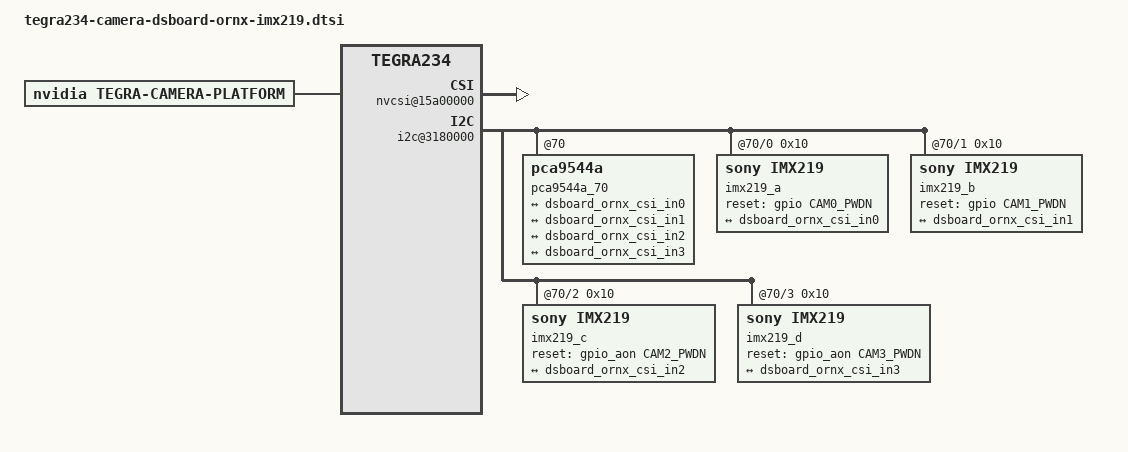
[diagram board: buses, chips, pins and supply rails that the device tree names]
// SPDX-License-Identifier: GPL-2.0-only
// SPDX-FileCopyrightText: Copyright (c) 2023-2024, NVIDIA CORPORATION & AFFILIATES. All rights reserved.

#include <dt-bindings/clock/tegra234-clock.h>
#include <dt-bindings/gpio/tegra234-gpio.h>

#define CAM0_PWDN	TEGRA234_MAIN_GPIO(H, 6)
#define CAM1_PWDN	TEGRA234_MAIN_GPIO(AC, 0)
#define CAM2_PWDN	TEGRA234_AON_GPIO(CC, 1) // GPIO04
#define CAM3_PWDN	TEGRA234_AON_GPIO(EE, 2) // GPIO10
#define CAMERA_I2C_MUX_BUS(x) (0x1E + x)

// CAM0_MCLK - Pin_116 - GPIO(P, 0)
// CAM1_MCLK - Pin_122 - GPIO(P, 1)
// CAM2_MCLK - GPIO02 - GPIO(Q, 5)
// CAM3_MCLK - GPIO11 - GPIO(Q, 6)

/ {
	fragment-camera@0 {
		target-path = "/";
		__overlay__ {

	tegra-capture-vi  {
		num-channels = <4>;
		ports {
			#address-cells = <1>;
			#size-cells = <0>;
			port@0 {
				status = "okay";
				reg = <0>;
				dsboard_ornx_vi_in0: endpoint {
					status = "okay";
					port-index = <0>;
					bus-width = <2>;
					remote-endpoint = <&dsboard_ornx_csi_out0>;
				};
			};
			port@1 {
				status = "okay";
				reg = <1>;
				dsboard_ornx_vi_in1: endpoint {
					status = "okay";
					port-index = <1>;
					bus-width = <2>;
					remote-endpoint = <&dsboard_ornx_csi_out1>;
				};
			};
			port@2 {
				status = "okay";
				reg = <2>;
				dsboard_ornx_vi_in2: endpoint {
					status = "okay";
					port-index = <2>;
					bus-width = <2>;
					remote-endpoint = <&dsboard_ornx_csi_out2>;
				};
			};
			port@3 {
				status = "okay";
				reg = <3>;
				dsboard_ornx_vi_in3: endpoint {
					status = "okay";
					port-index = <3>;
					bus-width = <2>;
					remote-endpoint = <&dsboard_ornx_csi_out3>;
				};
			};
		};
	};

	bus@0 {
		host1x@13e00000 {
			nvcsi@15a00000 {
				num-channels = <4>;
				#address-cells = <1>;
				#size-cells = <0>;
				status = "okay";
				channel@0 {
					status = "okay";
					reg = <0>;
					ports {
						#address-cells = <1>;
						#size-cells = <0>;
						port@0 {
							status = "okay";
							reg = <0>;
							dsboard_ornx_csi_in0: endpoint@0 {
								status = "okay";
								port-index = <0>;
								bus-width = <2>;
								remote-endpoint = <&dsboard_ornx_imx219_out0>;
							};
						};
						port@1 {
							status = "okay";
							reg = <1>;
							dsboard_ornx_csi_out0: endpoint@1 {
								status = "okay";
								remote-endpoint = <&dsboard_ornx_vi_in0>;
							};
						};
					};
				};
				channel@1 {
					status = "okay";
					reg = <1>;
					ports {
						#address-cells = <1>;
						#size-cells = <0>;
						port@0 {
							status = "okay";
							reg = <0>;
							dsboard_ornx_csi_in1: endpoint@2 {
								status = "okay";
								port-index = <1>;
								bus-width = <2>;
								remote-endpoint = <&dsboard_ornx_imx219_out1>;
							};
						};
						port@1 {
							status = "okay";
							reg = <1>;
							dsboard_ornx_csi_out1: endpoint@3 {
								status = "okay";
								remote-endpoint = <&dsboard_ornx_vi_in1>;
							};
						};
					};
				};
				channel@2 {
					status = "okay";
					reg = <2>;
					ports {
						#address-cells = <1>;
						#size-cells = <0>;
						port@0 {
							status = "okay";
							reg = <0>;
							dsboard_ornx_csi_in2: endpoint@4 {
								status = "okay";
								port-index = <2>;
								bus-width = <2>;
								remote-endpoint = <&dsboard_ornx_imx219_out2>;
							};
						};
						port@1 {
							status = "okay";
							reg = <1>;
							dsboard_ornx_csi_out2: endpoint@5 {
								status = "okay";
								remote-endpoint = <&dsboard_ornx_vi_in2>;
							};
						};
					};
				};
				channel@3 {
					status = "okay";
					reg = <3>;
					ports {
						#address-cells = <1>;
						#size-cells = <0>;
						port@0 {
							status = "okay";
							reg = <0>;
							dsboard_ornx_csi_in3: endpoint@6 {
								status = "okay";
								port-index = <3>;
								bus-width = <2>;
								remote-endpoint = <&dsboard_ornx_imx219_out3>;
							};
						};
						port@1 {
							status = "okay";
							reg = <1>;
							dsboard_ornx_csi_out3: endpoint@7 {
								status = "okay";
								remote-endpoint = <&dsboard_ornx_vi_in3>;
							};
						};
					};
				};
			};
		};

		i2c@3180000 {
			pca9544a_70: pca9544a@70 {
				status = "okay";
				force_bus_start = <CAMERA_I2C_MUX_BUS(0)>;

				i2c@0 {
					reg = <0>;
					i2c-mux,deselect-on-exit;
					#address-cells = <1>;
					#size-cells = <0>;

					imx219_a@10 {
						status="okay";

						compatible = "sony,imx219";
						/* I2C device address */
						reg = <0x10>;

						/* V4L2 device node location */
						devnode = "video0";

						/* Physical dimensions of sensor */
						physical_w = "3.680";
						physical_h = "2.760";

						sensor_model = "imx219";

						use_sensor_mode_id = "true";

						reset-gpios = <&gpio CAM0_PWDN GPIO_ACTIVE_HIGH>;
						/**
						* ==== Modes ====
						* A modeX node is required to support v4l2 driver
						* implementation with NVIDIA camera software stack
						*
						* == Signal properties ==
						*
						* phy_mode = "";
						* PHY mode used by the MIPI lanes for this device
						*
						* tegra_sinterface = "";
						* CSI Serial interface connected to tegra
						* Incase of virtual HW devices, use virtual
						* For SW emulated devices, use host
						*
						* pix_clk_hz = "";
						* Sensor pixel clock used for calculations like exposure and framerate
						*
						* readout_orientation = "0";
						* Based on camera module orientation.
						* Only change readout_orientation if you specifically
						* Program a different readout order for this mode
						*
						* == Image format Properties ==
						*
						* active_w = "";
						* Pixel active region width
						*
						* active_h = "";
						* Pixel active region height
						*
						* pixel_t = "";
						* The sensor readout pixel pattern
						*
						* line_length = "";
						* Pixel line length (width) for sensor mode.
						*
						* == Source Control Settings ==
						*
						* Gain factor used to convert fixed point integer to float
						* Gain range [min_gain/gain_factor, max_gain/gain_factor]
						* Gain step [step_gain/gain_factor is the smallest step that can be configured]
						* Default gain [Default gain to be initialized for the control.
						*     use min_gain_val as default for optimal results]
						* Framerate factor used to convert fixed point integer to float
						* Framerate range [min_framerate/framerate_factor, max_framerate/framerate_factor]
						* Framerate step [step_framerate/framerate_factor is the smallest step that can be configured]
						* Default Framerate [Default framerate to be initialized for the control.
						*     use max_framerate to get required performance]
						* Exposure factor used to convert fixed point integer to float
						* For convenience use 1 sec = 1000000us as conversion factor
						* Exposure range [min_exp_time/exposure_factor, max_exp_time/exposure_factor]
						* Exposure step [step_exp_time/exposure_factor is the smallest step that can be configured]
						* Default Exposure Time [Default exposure to be initialized for the control.
						*     Set default exposure based on the default_framerate for optimal exposure settings]
						*
						* gain_factor = ""; (integer factor used for floating to fixed point conversion)
						* min_gain_val = ""; (ceil to integer)
						* max_gain_val = ""; (ceil to integer)
						* step_gain_val = ""; (ceil to integer)
						* default_gain = ""; (ceil to integer)
						* Gain limits for mode
						*
						* exposure_factor = ""; (integer factor used for floating to fixed point conversion)
						* min_exp_time = ""; (ceil to integer)
						* max_exp_time = ""; (ceil to integer)
						* step_exp_time = ""; (ceil to integer)
						* default_exp_time = ""; (ceil to integer)
						* Exposure Time limits for mode (sec)
						*
						* framerate_factor = ""; (integer factor used for floating to fixed point conversion)
						* min_framerate = ""; (ceil to integer)
						* max_framerate = ""; (ceil to integer)
						* step_framerate = ""; (ceil to integer)
						* default_framerate = ""; (ceil to integer)
						* Framerate limits for mode (fps)
						*
						* embedded_metadata_height = "";
						* Sensor embedded metadata height in units of rows.
						* If sensor does not support embedded metadata value should be 0.
						*/
						mode0 { /* IMX219_MODE_3280x2464_21FPS */
							mclk_khz = "24000";
							num_lanes = "2";
							tegra_sinterface = "serial_a";
							phy_mode = "DPHY";
							discontinuous_clk = "yes";
							dpcm_enable = "false";
							cil_settletime = "0";
							lane_polarity = "6";

							active_w = "3280";
							active_h = "2464";
							mode_type = "bayer";
							pixel_phase = "rggb";
							csi_pixel_bit_depth = "10";
							readout_orientation = "90";
							line_length = "3448";
							inherent_gain = "1";
							mclk_multiplier = "9.33";
							pix_clk_hz = "182400000";

							gain_factor = "16";
							framerate_factor = "1000000";
							exposure_factor = "1000000";
							min_gain_val = "16"; /* 1.00x */
							max_gain_val = "170"; /* 10.66x */
							step_gain_val = "1";
							default_gain = "16"; /* 1.00x */
							min_hdr_ratio = "1";
							max_hdr_ratio = "1";
							min_framerate = "2000000"; /* 2.0 fps */
							max_framerate = "21000000"; /* 21.0 fps */
							step_framerate = "1";
							default_framerate = "21000000"; /* 21.0 fps */
							min_exp_time = "13"; /* us */
							max_exp_time = "683709"; /* us */
							step_exp_time = "1";
							default_exp_time = "2495"; /* us */

							embedded_metadata_height = "2";
						};
						mode1 { /* IMX219_MODE_3280x1848_28FPS */
							mclk_khz = "24000";
							num_lanes = "2";
							tegra_sinterface = "serial_a";
							phy_mode = "DPHY";
							discontinuous_clk = "yes";
							dpcm_enable = "false";
							cil_settletime = "0";
							lane_polarity = "6";

							active_w = "3280";
							active_h = "1848";
							mode_type = "bayer";
							pixel_phase = "rggb";
							csi_pixel_bit_depth = "10";
							readout_orientation = "90";
							line_length = "3448";
							inherent_gain = "1";
							mclk_multiplier = "9.33";
							pix_clk_hz = "182400000";

							gain_factor = "16";
							framerate_factor = "1000000";
							exposure_factor = "1000000";
							min_gain_val = "16"; /* 1.00x */
							max_gain_val = "170"; /* 10.66x */
							step_gain_val = "1";
							default_gain = "16"; /* 1.00x */
							min_hdr_ratio = "1";
							max_hdr_ratio = "1";
							min_framerate = "2000000"; /* 2.0 fps */
							max_framerate = "28000000"; /* 28.0 fps */
							step_framerate = "1";
							default_framerate = "28000000"; /* 28.0 fps */
							min_exp_time = "13"; /* us */
							max_exp_time = "683709"; /* us */
							step_exp_time = "1";
							default_exp_time = "2495"; /* us */

							embedded_metadata_height = "2";
						};
						mode2 { /* IMX219_MODE_1920x1080_30FPS */
							mclk_khz = "24000";
							num_lanes = "2";
							tegra_sinterface = "serial_a";
							phy_mode = "DPHY";
							discontinuous_clk = "yes";
							dpcm_enable = "false";
							cil_settletime = "0";
							lane_polarity = "6";

							active_w = "1920";
							active_h = "1080";
							mode_type = "bayer";
							pixel_phase = "rggb";
							csi_pixel_bit_depth = "10";
							readout_orientation = "90";
							line_length = "3448";
							inherent_gain = "1";
							mclk_multiplier = "9.33";
							pix_clk_hz = "182400000";

							gain_factor = "16";
							framerate_factor = "1000000";
							exposure_factor = "1000000";
							min_gain_val = "16"; /* 1.00x */
							max_gain_val = "170"; /* 10.66x */
							step_gain_val = "1";
							default_gain = "16"; /* 1.00x */
							min_hdr_ratio = "1";
							max_hdr_ratio = "1";
							min_framerate = "2000000"; /* 2.0 fps */
							max_framerate = "30000000"; /* 30.0 fps */
							step_framerate = "1";
							default_framerate = "30000000"; /* 30.0 fps */
							min_exp_time = "13"; /* us */
							max_exp_time = "683709"; /* us */
							step_exp_time = "1";
							default_exp_time = "2495"; /* us */

							embedded_metadata_height = "2";
						};

						mode3 { /* IMX219_MODE_1640x1232_30FPS */
							mclk_khz = "24000";
							num_lanes = "2";
							tegra_sinterface = "serial_a";
							phy_mode = "DPHY";
							discontinuous_clk = "yes";
							dpcm_enable = "false";
							cil_settletime = "0";
							lane_polarity = "6";

							active_w = "1640";
							active_h = "1232";
							mode_type = "bayer";
							pixel_phase = "rggb";
							csi_pixel_bit_depth = "10";
							readout_orientation = "90";
							line_length = "3448";
							inherent_gain = "1";
							mclk_multiplier = "9.33";
							pix_clk_hz = "182400000";

							gain_factor = "16";
							framerate_factor = "1000000";
							exposure_factor = "1000000";
							min_gain_val = "16"; /* 1.00x */
							max_gain_val = "170"; /* 10.66x */
							step_gain_val = "1";
							default_gain = "16"; /* 1.00x */
							min_hdr_ratio = "1";
							max_hdr_ratio = "1";
							min_framerate = "2000000"; /* 2.0 fps */
							max_framerate = "30000000"; /* 60.0 fps */
							step_framerate = "1";
							default_framerate = "30000000"; /* 60.0 fps */
							min_exp_time = "13"; /* us */
							max_exp_time = "683709"; /* us */
							step_exp_time = "1";
							default_exp_time = "2495"; /* us */

							embedded_metadata_height = "2";
						};

						mode4 { /* IMX219_MODE_1280x720_60FPS */
							mclk_khz = "24000";
							num_lanes = "2";
							tegra_sinterface = "serial_a";
							phy_mode = "DPHY";
							discontinuous_clk = "yes";
							dpcm_enable = "false";
							cil_settletime = "0";
							lane_polarity = "6";

							active_w = "1280";
							active_h = "720";
							mode_type = "bayer";
							pixel_phase = "rggb";
							csi_pixel_bit_depth = "10";
							readout_orientation = "90";
							line_length = "3448";
							inherent_gain = "1";
							mclk_multiplier = "9.33";
							pix_clk_hz = "182400000";

							gain_factor = "16";
							framerate_factor = "1000000";
							exposure_factor = "1000000";
							min_gain_val = "16"; /* 1.00x */
							max_gain_val = "170"; /* 10.66x */
							step_gain_val = "1";
							default_gain = "16"; /* 1.00x */
							min_hdr_ratio = "1";
							max_hdr_ratio = "1";
							min_framerate = "2000000"; /* 2.0 fps */
							max_framerate = "60000000"; /* 60.0 fps */
							step_framerate = "1";
							default_framerate = "60000000"; /* 60.0 fps */
							min_exp_time = "13"; /* us */
							max_exp_time = "683709"; /* us */
							step_exp_time = "1";
							default_exp_time = "2495"; /* us */

							embedded_metadata_height = "2";
						};

						ports {
							#address-cells = <1>;
							#size-cells = <0>;

							port@0 {
								status = "okay";
								reg = <0>;
								dsboard_ornx_imx219_out0: endpoint {
									status = "okay";
									port-index = <0>;
									bus-width = <2>;
									remote-endpoint = <&dsboard_ornx_csi_in0>;
								};
							};
						};
					};
				};

				i2c@1 {
					reg = <1>;
					i2c-mux,deselect-on-exit;
					#address-cells = <1>;
					#size-cells = <0>;

					imx219_b@10 {
						status="okay";

						compatible = "sony,imx219";
						/* I2C device address */
						reg = <0x10>;

						/* V4L2 device node location */
						devnode = "video1";

						/* Physical dimensions of sensor */
						physical_w = "3.680";
						physical_h = "2.760";

						sensor_model = "imx219";

						use_sensor_mode_id = "true";

						reset-gpios = <&gpio CAM1_PWDN GPIO_ACTIVE_HIGH>;

						mode0 { /* IMX219_MODE_3280x2464_21FPS */
							mclk_khz = "24000";
							num_lanes = "2";
							tegra_sinterface = "serial_b";
							phy_mode = "DPHY";
							discontinuous_clk = "yes";
							dpcm_enable = "false";
							cil_settletime = "0";
							lane_polarity = "6";

							active_w = "3280";
							active_h = "2464";
							mode_type = "bayer";
							pixel_phase = "rggb";
							csi_pixel_bit_depth = "10";
							readout_orientation = "90";
							line_length = "3448";
							inherent_gain = "1";
							mclk_multiplier = "9.33";
							pix_clk_hz = "182400000";

							gain_factor = "16";
							framerate_factor = "1000000";
							exposure_factor = "1000000";
							min_gain_val = "16"; /* 1.00x */
							max_gain_val = "170"; /* 10.66x */
							step_gain_val = "1";
							default_gain = "16"; /* 1.00x */
							min_hdr_ratio = "1";
							max_hdr_ratio = "1";
							min_framerate = "2000000"; /* 2.0 fps */
							max_framerate = "21000000"; /* 21.0 fps */
							step_framerate = "1";
							default_framerate = "21000000"; /* 21.0 fps */
							min_exp_time = "13"; /* us */
							max_exp_time = "683709"; /* us */
							step_exp_time = "1";
							default_exp_time = "2495"; /* us */

							embedded_metadata_height = "2";
						};
						mode1 { /* IMX219_MODE_3280x1848_28FPS */
							mclk_khz = "24000";
							num_lanes = "2";
							tegra_sinterface = "serial_b";
							phy_mode = "DPHY";
							discontinuous_clk = "yes";
							dpcm_enable = "false";
							cil_settletime = "0";
							lane_polarity = "6";

							active_w = "3280";
							active_h = "1848";
							mode_type = "bayer";
							pixel_phase = "rggb";
							csi_pixel_bit_depth = "10";
							readout_orientation = "90";
							line_length = "3448";
							inherent_gain = "1";
							mclk_multiplier = "9.33";
							pix_clk_hz = "182400000";

							gain_factor = "16";
							framerate_factor = "1000000";
							exposure_factor = "1000000";
							min_gain_val = "16"; /* 1.00x */
							max_gain_val = "170"; /* 10.66x */
							step_gain_val = "1";
							default_gain = "16"; /* 1.00x */
							min_hdr_ratio = "1";
							max_hdr_ratio = "1";
							min_framerate = "2000000"; /* 2.0 fps */
							max_framerate = "28000000"; /* 28.0 fps */
							step_framerate = "1";
							default_framerate = "28000000"; /* 28.0 fps */
							min_exp_time = "13"; /* us */
							max_exp_time = "683709"; /* us */
							step_exp_time = "1";
							default_exp_time = "2495"; /* us */

							embedded_metadata_height = "2";
						};
						mode2 { /* IMX219_MODE_1920x1080_30FPS */
							mclk_khz = "24000";
							num_lanes = "2";
							tegra_sinterface = "serial_b";
							phy_mode = "DPHY";
							discontinuous_clk = "yes";
							dpcm_enable = "false";
							cil_settletime = "0";
							lane_polarity = "6";

							active_w = "1920";
							active_h = "1080";
							mode_type = "bayer";
							pixel_phase = "rggb";
							csi_pixel_bit_depth = "10";
							readout_orientation = "90";
							line_length = "3448";
							inherent_gain = "1";
							mclk_multiplier = "9.33";
							pix_clk_hz = "182400000";

							gain_factor = "16";
							framerate_factor = "1000000";
							exposure_factor = "1000000";
							min_gain_val = "16"; /* 1.00x */
							max_gain_val = "170"; /* 10.66x */
							step_gain_val = "1";
							default_gain = "16"; /* 1.00x */
							min_hdr_ratio = "1";
							max_hdr_ratio = "1";
							min_framerate = "2000000"; /* 2.0 fps */
							max_framerate = "30000000"; /* 30.0 fps */
							step_framerate = "1";
							default_framerate = "30000000"; /* 30.0 fps */
							min_exp_time = "13"; /* us */
							max_exp_time = "683709"; /* us */
							step_exp_time = "1";
							default_exp_time = "2495"; /* us */

							embedded_metadata_height = "2";
						};

						mode3 { /* IMX219_MODE_1640x1232_30FPS */
							mclk_khz = "24000";
							num_lanes = "2";
							tegra_sinterface = "serial_b";
							phy_mode = "DPHY";
							discontinuous_clk = "yes";
							dpcm_enable = "false";
							cil_settletime = "0";
							lane_polarity = "6";

							active_w = "1640";
							active_h = "1232";
							mode_type = "bayer";
							pixel_phase = "rggb";
							csi_pixel_bit_depth = "10";
							readout_orientation = "90";
							line_length = "3448";
							inherent_gain = "1";
							mclk_multiplier = "9.33";
							pix_clk_hz = "182400000";

							gain_factor = "16";
							framerate_factor = "1000000";
							exposure_factor = "1000000";
							min_gain_val = "16"; /* 1.00x */
							max_gain_val = "170"; /* 10.66x */
							step_gain_val = "1";
							default_gain = "16"; /* 1.00x */
							min_hdr_ratio = "1";
							max_hdr_ratio = "1";
							min_framerate = "2000000"; /* 2.0 fps */
							max_framerate = "30000000"; /* 60.0 fps */
							step_framerate = "1";
							default_framerate = "30000000"; /* 60.0 fps */
							min_exp_time = "13"; /* us */
							max_exp_time = "683709"; /* us */
							step_exp_time = "1";
							default_exp_time = "2495"; /* us */

							embedded_metadata_height = "2";
						};

						mode4 { /* IMX219_MODE_1280x720_60FPS */
							mclk_khz = "24000";
							num_lanes = "2";
							tegra_sinterface = "serial_b";
							phy_mode = "DPHY";
							discontinuous_clk = "yes";
							dpcm_enable = "false";
							cil_settletime = "0";
							lane_polarity = "6";

							active_w = "1280";
							active_h = "720";
							mode_type = "bayer";
							pixel_phase = "rggb";
							csi_pixel_bit_depth = "10";
							readout_orientation = "90";
							line_length = "3448";
							inherent_gain = "1";
							mclk_multiplier = "9.33";
							pix_clk_hz = "182400000";

							gain_factor = "16";
							framerate_factor = "1000000";
							exposure_factor = "1000000";
							min_gain_val = "16"; /* 1.00x */
							max_gain_val = "170"; /* 10.66x */
							step_gain_val = "1";
							default_gain = "16"; /* 1.00x */
							min_hdr_ratio = "1";
							max_hdr_ratio = "1";
							min_framerate = "2000000"; /* 2.0 fps */
							max_framerate = "60000000"; /* 60.0 fps */
							step_framerate = "1";
							default_framerate = "60000000"; /* 60.0 fps */
							min_exp_time = "13"; /* us */
							max_exp_time = "683709"; /* us */
							step_exp_time = "1";
							default_exp_time = "2495"; /* us */

							embedded_metadata_height = "2";
						};

						ports {
							#address-cells = <1>;
							#size-cells = <0>;

							port@0 {
								reg = <0>;
								dsboard_ornx_imx219_out1: endpoint {
									port-index = <1>;
									bus-width = <2>;
									remote-endpoint = <&dsboard_ornx_csi_in1>;
								};
							};
						};
					};
				};

				i2c@2 {
					reg = <2>;
					i2c-mux,deselect-on-exit;
					#address-cells = <1>;
					#size-cells = <0>;

					imx219_c@10 {
						status="okay";

						compatible = "sony,imx219";
						/* I2C device address */
						reg = <0x10>;

						/* V4L2 device node location */
						devnode = "video2";

						/* Physical dimensions of sensor */
						physical_w = "3.680";
						physical_h = "2.760";

						sensor_model = "imx219";

						use_sensor_mode_id = "true";

						reset-gpios = <&gpio_aon CAM2_PWDN GPIO_ACTIVE_HIGH>;

						mode0 { /* IMX219_MODE_3280x2464_21FPS */
							mclk_khz = "24000";
							num_lanes = "2";
							tegra_sinterface = "serial_c";
							phy_mode = "DPHY";
							discontinuous_clk = "yes";
							dpcm_enable = "false";
							cil_settletime = "0";

							active_w = "3280";
							active_h = "2464";
							mode_type = "bayer";
							pixel_phase = "rggb";
							csi_pixel_bit_depth = "10";
							readout_orientation = "90";
							line_length = "3448";
							inherent_gain = "1";
							mclk_multiplier = "9.33";
							pix_clk_hz = "182400000";

							gain_factor = "16";
							framerate_factor = "1000000";
							exposure_factor = "1000000";
							min_gain_val = "16"; /* 1.00x */
							max_gain_val = "170"; /* 10.66x */
							step_gain_val = "1";
							default_gain = "16"; /* 1.00x */
							min_hdr_ratio = "1";
							max_hdr_ratio = "1";
							min_framerate = "2000000"; /* 2.0 fps */
							max_framerate = "21000000"; /* 21.0 fps */
							step_framerate = "1";
							default_framerate = "21000000"; /* 21.0 fps */
							min_exp_time = "13"; /* us */
							max_exp_time = "683709"; /* us */
							step_exp_time = "1";
							default_exp_time = "2495"; /* us */

							embedded_metadata_height = "2";
						};
						mode1 { /* IMX219_MODE_3280x1848_28FPS */
							mclk_khz = "24000";
							num_lanes = "2";
							tegra_sinterface = "serial_c";
							phy_mode = "DPHY";
							discontinuous_clk = "yes";
							dpcm_enable = "false";
							cil_settletime = "0";

							active_w = "3280";
							active_h = "1848";
							mode_type = "bayer";
							pixel_phase = "rggb";
							csi_pixel_bit_depth = "10";
							readout_orientation = "90";
							line_length = "3448";
							inherent_gain = "1";
							mclk_multiplier = "9.33";
							pix_clk_hz = "182400000";

							gain_factor = "16";
							framerate_factor = "1000000";
							exposure_factor = "1000000";
							min_gain_val = "16"; /* 1.00x */
							max_gain_val = "170"; /* 10.66x */
							step_gain_val = "1";
							default_gain = "16"; /* 1.00x */
							min_hdr_ratio = "1";
							max_hdr_ratio = "1";
							min_framerate = "2000000"; /* 2.0 fps */
							max_framerate = "28000000"; /* 28.0 fps */
							step_framerate = "1";
							default_framerate = "28000000"; /* 28.0 fps */
							min_exp_time = "13"; /* us */
							max_exp_time = "683709"; /* us */
							step_exp_time = "1";
							default_exp_time = "2495"; /* us */

							embedded_metadata_height = "2";
						};
						mode2 { /* IMX219_MODE_1920x1080_30FPS */
							mclk_khz = "24000";
							num_lanes = "2";
							tegra_sinterface = "serial_c";
							phy_mode = "DPHY";
							discontinuous_clk = "yes";
							dpcm_enable = "false";
							cil_settletime = "0";

							active_w = "1920";
							active_h = "1080";
							mode_type = "bayer";
							pixel_phase = "rggb";
							csi_pixel_bit_depth = "10";
							readout_orientation = "90";
							line_length = "3448";
							inherent_gain = "1";
							mclk_multiplier = "9.33";
							pix_clk_hz = "182400000";

							gain_factor = "16";
							framerate_factor = "1000000";
							exposure_factor = "1000000";
							min_gain_val = "16"; /* 1.00x */
							max_gain_val = "170"; /* 10.66x */
							step_gain_val = "1";
							default_gain = "16"; /* 1.00x */
							min_hdr_ratio = "1";
							max_hdr_ratio = "1";
							min_framerate = "2000000"; /* 2.0 fps */
							max_framerate = "30000000"; /* 30.0 fps */
							step_framerate = "1";
							default_framerate = "30000000"; /* 30.0 fps */
							min_exp_time = "13"; /* us */
							max_exp_time = "683709"; /* us */
							step_exp_time = "1";
							default_exp_time = "2495"; /* us */

							embedded_metadata_height = "2";
						};

						mode3 { /* IMX219_MODE_1640x1232_30FPS */
							mclk_khz = "24000";
							num_lanes = "2";
							tegra_sinterface = "serial_c";
							phy_mode = "DPHY";
							discontinuous_clk = "yes";
							dpcm_enable = "false";
							cil_settletime = "0";

							active_w = "1640";
							active_h = "1232";
							mode_type = "bayer";
							pixel_phase = "rggb";
							csi_pixel_bit_depth = "10";
							readout_orientation = "90";
							line_length = "3448";
							inherent_gain = "1";
							mclk_multiplier = "9.33";
							pix_clk_hz = "182400000";

							gain_factor = "16";
							framerate_factor = "1000000";
							exposure_factor = "1000000";
							min_gain_val = "16"; /* 1.00x */
							max_gain_val = "170"; /* 10.66x */
							step_gain_val = "1";
							default_gain = "16"; /* 1.00x */
							min_hdr_ratio = "1";
							max_hdr_ratio = "1";
							min_framerate = "2000000"; /* 2.0 fps */
							max_framerate = "30000000"; /* 60.0 fps */
							step_framerate = "1";
							default_framerate = "30000000"; /* 60.0 fps */
							min_exp_time = "13"; /* us */
							max_exp_time = "683709"; /* us */
							step_exp_time = "1";
							default_exp_time = "2495"; /* us */

							embedded_metadata_height = "2";
						};

						mode4 { /* IMX219_MODE_1280x720_60FPS */
							mclk_khz = "24000";
							num_lanes = "2";
							tegra_sinterface = "serial_c";
							phy_mode = "DPHY";
							discontinuous_clk = "yes";
							dpcm_enable = "false";
							cil_settletime = "0";

							active_w = "1280";
							active_h = "720";
							mode_type = "bayer";
							pixel_phase = "rggb";
							csi_pixel_bit_depth = "10";
							readout_orientation = "90";
							line_length = "3448";
							inherent_gain = "1";
							mclk_multiplier = "9.33";
							pix_clk_hz = "182400000";

							gain_factor = "16";
							framerate_factor = "1000000";
							exposure_factor = "1000000";
							min_gain_val = "16"; /* 1.00x */
							max_gain_val = "170"; /* 10.66x */
							step_gain_val = "1";
							default_gain = "16"; /* 1.00x */
							min_hdr_ratio = "1";
							max_hdr_ratio = "1";
							min_framerate = "2000000"; /* 2.0 fps */
							max_framerate = "60000000"; /* 60.0 fps */
							step_framerate = "1";
							default_framerate = "60000000"; /* 60.0 fps */
							min_exp_time = "13"; /* us */
							max_exp_time = "683709"; /* us */
							step_exp_time = "1";
							default_exp_time = "2495"; /* us */

							embedded_metadata_height = "2";
						};

						ports {
							#address-cells = <1>;
							#size-cells = <0>;

							port@0 {
								reg = <0>;
								dsboard_ornx_imx219_out2: endpoint {
									port-index = <2>;
									bus-width = <2>;
									remote-endpoint = <&dsboard_ornx_csi_in2>;
								};
							};
						};
					};
				};

				i2c@3 {
					reg = <3>;
					i2c-mux,deselect-on-exit;
					#address-cells = <1>;
					#size-cells = <0>;

					imx219_d@10 {
						status="okay";

						compatible = "sony,imx219";
						/* I2C device address */
						reg = <0x10>;

						/* V4L2 device node location */
						devnode = "video3";

						/* Physical dimensions of sensor */
						physical_w = "3.680";
						physical_h = "2.760";

						sensor_model = "imx219";

						use_sensor_mode_id = "true";

						reset-gpios = <&gpio_aon CAM3_PWDN GPIO_ACTIVE_HIGH>;

						mode0 { /* IMX219_MODE_3280x2464_21FPS */
							mclk_khz = "24000";
							num_lanes = "2";
							tegra_sinterface = "serial_d";
							phy_mode = "DPHY";
							discontinuous_clk = "yes";
							dpcm_enable = "false";
							cil_settletime = "0";

							active_w = "3280";
							active_h = "2464";
							mode_type = "bayer";
							pixel_phase = "rggb";
							csi_pixel_bit_depth = "10";
							readout_orientation = "90";
							line_length = "3448";
							inherent_gain = "1";
							mclk_multiplier = "9.33";
							pix_clk_hz = "182400000";

							gain_factor = "16";
							framerate_factor = "1000000";
							exposure_factor = "1000000";
							min_gain_val = "16"; /* 1.00x */
							max_gain_val = "170"; /* 10.66x */
							step_gain_val = "1";
							default_gain = "16"; /* 1.00x */
							min_hdr_ratio = "1";
							max_hdr_ratio = "1";
							min_framerate = "2000000"; /* 2.0 fps */
							max_framerate = "21000000"; /* 21.0 fps */
							step_framerate = "1";
							default_framerate = "21000000"; /* 21.0 fps */
							min_exp_time = "13"; /* us */
							max_exp_time = "683709"; /* us */
							step_exp_time = "1";
							default_exp_time = "2495"; /* us */

							embedded_metadata_height = "2";
						};
						mode1 { /* IMX219_MODE_3280x1848_28FPS */
							mclk_khz = "24000";
							num_lanes = "2";
							tegra_sinterface = "serial_d";
							phy_mode = "DPHY";
							discontinuous_clk = "yes";
							dpcm_enable = "false";
							cil_settletime = "0";

							active_w = "3280";
							active_h = "1848";
							mode_type = "bayer";
							pixel_phase = "rggb";
							csi_pixel_bit_depth = "10";
							readout_orientation = "90";
							line_length = "3448";
							inherent_gain = "1";
							mclk_multiplier = "9.33";
							pix_clk_hz = "182400000";

							gain_factor = "16";
							framerate_factor = "1000000";
							exposure_factor = "1000000";
							min_gain_val = "16"; /* 1.00x */
							max_gain_val = "170"; /* 10.66x */
							step_gain_val = "1";
							default_gain = "16"; /* 1.00x */
							min_hdr_ratio = "1";
							max_hdr_ratio = "1";
							min_framerate = "2000000"; /* 2.0 fps */
							max_framerate = "28000000"; /* 28.0 fps */
							step_framerate = "1";
							default_framerate = "28000000"; /* 28.0 fps */
							min_exp_time = "13"; /* us */
							max_exp_time = "683709"; /* us */
							step_exp_time = "1";
							default_exp_time = "2495"; /* us */

							embedded_metadata_height = "2";
						};
						mode2 { /* IMX219_MODE_1920x1080_30FPS */
							mclk_khz = "24000";
							num_lanes = "2";
							tegra_sinterface = "serial_d";
							phy_mode = "DPHY";
							discontinuous_clk = "yes";
							dpcm_enable = "false";
							cil_settletime = "0";

							active_w = "1920";
							active_h = "1080";
							mode_type = "bayer";
							pixel_phase = "rggb";
							csi_pixel_bit_depth = "10";
							readout_orientation = "90";
							line_length = "3448";
							inherent_gain = "1";
							mclk_multiplier = "9.33";
							pix_clk_hz = "182400000";

							gain_factor = "16";
							framerate_factor = "1000000";
							exposure_factor = "1000000";
							min_gain_val = "16"; /* 1.00x */
							max_gain_val = "170"; /* 10.66x */
							step_gain_val = "1";
							default_gain = "16"; /* 1.00x */
							min_hdr_ratio = "1";
							max_hdr_ratio = "1";
							min_framerate = "2000000"; /* 2.0 fps */
							max_framerate = "30000000"; /* 30.0 fps */
							step_framerate = "1";
							default_framerate = "30000000"; /* 30.0 fps */
							min_exp_time = "13"; /* us */
							max_exp_time = "683709"; /* us */
							step_exp_time = "1";
							default_exp_time = "2495"; /* us */

							embedded_metadata_height = "2";
						};

						mode3 { /* IMX219_MODE_1640x1232_30FPS */
							mclk_khz = "24000";
							num_lanes = "2";
							tegra_sinterface = "serial_d";
							phy_mode = "DPHY";
							discontinuous_clk = "yes";
							dpcm_enable = "false";
							cil_settletime = "0";

							active_w = "1640";
							active_h = "1232";
							mode_type = "bayer";
							pixel_phase = "rggb";
							csi_pixel_bit_depth = "10";
							readout_orientation = "90";
							line_length = "3448";
							inherent_gain = "1";
							mclk_multiplier = "9.33";
							pix_clk_hz = "182400000";

							gain_factor = "16";
							framerate_factor = "1000000";
							exposure_factor = "1000000";
							min_gain_val = "16"; /* 1.00x */
							max_gain_val = "170"; /* 10.66x */
							step_gain_val = "1";
							default_gain = "16"; /* 1.00x */
							min_hdr_ratio = "1";
							max_hdr_ratio = "1";
							min_framerate = "2000000"; /* 2.0 fps */
							max_framerate = "30000000"; /* 60.0 fps */
							step_framerate = "1";
							default_framerate = "30000000"; /* 60.0 fps */
							min_exp_time = "13"; /* us */
							max_exp_time = "683709"; /* us */
							step_exp_time = "1";
							default_exp_time = "2495"; /* us */

							embedded_metadata_height = "2";
						};

						mode4 { /* IMX219_MODE_1280x720_60FPS */
							mclk_khz = "24000";
							num_lanes = "2";
							tegra_sinterface = "serial_d";
							phy_mode = "DPHY";
							discontinuous_clk = "yes";
							dpcm_enable = "false";
							cil_settletime = "0";

							active_w = "1280";
							active_h = "720";
							mode_type = "bayer";
							pixel_phase = "rggb";
							csi_pixel_bit_depth = "10";
							readout_orientation = "90";
							line_length = "3448";
							inherent_gain = "1";
							mclk_multiplier = "9.33";
							pix_clk_hz = "182400000";

							gain_factor = "16";
							framerate_factor = "1000000";
							exposure_factor = "1000000";
							min_gain_val = "16"; /* 1.00x */
							max_gain_val = "170"; /* 10.66x */
							step_gain_val = "1";
							default_gain = "16"; /* 1.00x */
							min_hdr_ratio = "1";
							max_hdr_ratio = "1";
							min_framerate = "2000000"; /* 2.0 fps */
							max_framerate = "60000000"; /* 60.0 fps */
							step_framerate = "1";
							default_framerate = "60000000"; /* 60.0 fps */
							min_exp_time = "13"; /* us */
							max_exp_time = "683709"; /* us */
							step_exp_time = "1";
							default_exp_time = "2495"; /* us */

							embedded_metadata_height = "2";
						};

						ports {
							#address-cells = <1>;
							#size-cells = <0>;

							port@0 {
								reg = <0>;
								dsboard_ornx_imx219_out3: endpoint {
									port-index = <3>;
									bus-width = <2>;
									remote-endpoint = <&dsboard_ornx_csi_in3>;
								};
							};
						};
					};
				};
			};
		};

		dsboard_ornx_lens_imx219@P5V27C {
			min_focus_distance = "0.0";
			hyper_focal = "0.0";
			focal_length = "3.04";
			f_number = "2.0";
			aperture = "0.0";
		};
	};

	tegra-camera-platform {
		compatible = "nvidia, tegra-camera-platform";
		/**
		* Physical settings to calculate max ISO BW
		*
		* num_csi_lanes = <>;
		* Total number of CSI lanes when all cameras are active
		*
		* max_lane_speed = <>;
		* Max lane speed in Kbit/s
		*
		* min_bits_per_pixel = <>;
		* Min bits per pixel
		*
		* vi_peak_byte_per_pixel = <>;
		* Max byte per pixel for the VI ISO case
		*
		* vi_bw_margin_pct = <>;
		* Vi bandwidth margin in percentage
		*
		* max_pixel_rate = <>;
		* Max pixel rate in Kpixel/s for the ISP ISO case
		*
		* isp_peak_byte_per_pixel = <>;
		* Max byte per pixel for the ISP ISO case
		*
		* isp_bw_margin_pct = <>;
		* Isp bandwidth margin in percentage
		*/
		num_csi_lanes = <8>;
		max_lane_speed = <1500000>;
		min_bits_per_pixel = <10>;
		vi_peak_byte_per_pixel = <2>;
		vi_bw_margin_pct = <25>;
		max_pixel_rate = <240000>;
		isp_peak_byte_per_pixel = <5>;
		isp_bw_margin_pct = <25>;

		/**
		 * The general guideline for naming badge_info contains 3 parts, and is as follows,
		 * The first part is the camera_board_id for the module; if the module is in a FFD
		 * platform, then use the platform name for this part.
		 * The second part contains the position of the module, ex. "rear" or "front".
		 * The third part contains the last 6 characters of a part number which is found
		 * in the module's specsheet from the vendor.
		 */
		modules {
			module0 {
				status = "okay";
				badge = "dsboard_ornx_bottomleft";
				position = "bottomleft";
				orientation = "1";
				drivernode0 {
					status = "okay";
					pcl_id = "v4l2_sensor";
					sysfs-device-tree = "/sys/firmware/devicetree/base/bus@0/i2c@3180000/pca9544a@70/i2c@0/imx219_a@10";
				};
				drivernode1 {
					status = "okay";
					pcl_id = "v4l2_lens";
					sysfs-device-tree = "/sys/firmware/devicetree/base/bus@0/dsboard_ornx_lens_imx219@P5V27C/";
				};
			};
			module1 {
				status = "okay";
				badge = "dsboard_ornx_centerleft";
				position = "centerleft";
				orientation = "1";
				drivernode0 {
					status = "okay";
					pcl_id = "v4l2_sensor";
					sysfs-device-tree = "/sys/firmware/devicetree/base/bus@0/i2c@3180000/pca9544a@70/i2c@1/imx219_b@10";
				};
				drivernode1 {
					status = "okay";
					pcl_id = "v4l2_lens";
					sysfs-device-tree = "/sys/firmware/devicetree/base/bus@0/dsboard_ornx_lens_imx219@P5V27C/";
				};
			};
			module2 {
				status = "okay";
				badge = "dsboard_ornx_centerright";
				position = "centerright";
				orientation = "1";
				drivernode0 {
					status = "okay";
					pcl_id = "v4l2_sensor";
					sysfs-device-tree = "/sys/firmware/devicetree/base/bus@0/i2c@3180000/pca9544a@70/i2c@2/imx219_c@10";
				};
				drivernode1 {
					status = "okay";
					pcl_id = "v4l2_lens";
					sysfs-device-tree = "/sys/firmware/devicetree/base/bus@0/dsboard_ornx_lens_imx219@P5V27C/";
				};
			};
			module3 {
				status = "okay";
				badge = "dsboard_ornx_topleft";
				position = "topleft";
				orientation = "1";
				drivernode0 {
					status = "okay";
					pcl_id = "v4l2_sensor";
					sysfs-device-tree = "/sys/firmware/devicetree/base/bus@0/i2c@3180000/pca9544a@70/i2c@3/imx219_d@10";
				};
				drivernode1 {
					status = "okay";
					pcl_id = "v4l2_lens";
					sysfs-device-tree = "/sys/firmware/devicetree/base/bus@0/dsboard_ornx_lens_imx219@P5V27C/";
				};
			};
		};
	};

		}; //__overlay__ ends
	}; //fragment-camera@0 ends
};
